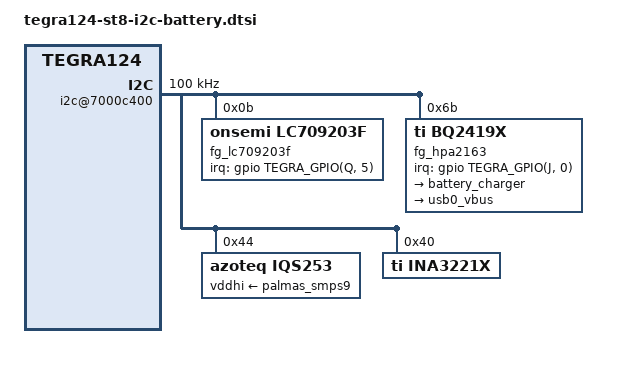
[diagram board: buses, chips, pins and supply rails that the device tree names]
#include <dt-bindings/gpio/tegra-gpio.h>

/ {
    i2c@7000c400 {
        #address-cells = <0x1>;
        #size-cells = <0x0>;
        compatible = "nvidia,tegra124-i2c";
        reg = <0x0 0x7000c400 0x0 0x100>;
        interrupts = <0x0 0x54 0x4>;
        scl-gpio = <0x7 0x9d 0x0>;
        sda-gpio = <0x7 0x9e 0x0>;
        nvidia,memory-clients = <0xe>;
        status = "okay";
        clock-frequency = <0x186a0>;
        
        fg_max17048: battery-gauge@36 {
            compatible = "maxim,max17048";
            reg = <0x36>;
            status = "disabled";
            interrupt-parent = <&gpio>;
            interrupts = <TEGRA_GPIO(Q, 5) 0x0>;
            tz-name = "battery-temp";
            alert-threshold = <0x0>;
            one-percent-alerts = <0x1>;
            valert-max = <0x13ec>;
            valert-min = <0x0>;
            vreset-threshold = <0x960>;
            vreset-disable = <0x1>;
            hib-threshold = <0x30>;
            hib-active-threshold = <0x80>;
            bits = <0x12>;
            rcomp = <0x39>;
            rcomp-seg = <0x200>;
            soccheck-a = <0x77>;
            soccheck-b = <0x79>;
            ocvtest = <0xda90>;
            data-tbl = <0x98 0x80 0xb3 0x50 0xb7 0x90 0xb9 0x0 0xba 0x70 0xbc 0x10 0xbc 0x50 0xbc 0xa0 0xbd 0x20 0xbe 0x30 0xbf 0x40 0xc2 0xf0 0xc4 0x20 0xc7 0xe0 0xcb 0xf0 0xd0 0x90 0x0 0x40 0x6 0x70 0xe 0x50 0x12 0x0 0x18 0xd0 0x33 0x10 0x31 0x40 0x35 0xd0 0x18 0xd0 0x19 0x0 0xb 0xf0 0xc 0x10 0xd 0x10 0x7 0x90 0x8 0x0 0x8 0x0>;
        };
        
        fg_lc709203f: battery-gauge@0b {
            compatible = "onsemi,lc709203f";
            reg = <0xb>;
            interrupt-parent = <&gpio>;
            interrupts = <TEGRA_GPIO(Q, 5) 0x0>;
            onsemi,thermistor-beta = <0xd6b>;
            onsemi,kernel-maximum-soc = <0x63>;
            onsemi,alert-low-rsoc = <0x0>;
            onsemi,alert-low-voltage = <0x0>;
            status = "okay";
            onsemi,kernel-threshold-soc = <0x2>;
            io-channels = <0xa 0x1>;
            io-channel-names = "battery-current";
        };
        
        fg_hpa2163: battery-charger@6b {
            compatible = "ti,bq2419x";
            reg = <0x6b>;
            interrupt-parent = <&gpio>;
            interrupts = <TEGRA_GPIO(J, 0) 0x0>;
            
            battery_charger: charger {
                status = "okay";
                regulator-name = "batt_regulator";
                regulator-max-microamp = <0x2dc6c0>;
                ti,watchdog-timeout = <0x28>;
                ti,rtc-alarm-time = <0xe10>;
                ti,auto-recharge-time = <0x708>;
                ti,disbale-suspend-during-charging;
                ti,charge-voltage-limit-millivolt = <0x1100>;
                ti,charge-term-current-limit-milliamp = <0x1>;
                ti,temp-range = <0xa 0xf 0x19 0x2d 0x32 0x3c>;
                ti,charge-current-limit = <0x208 0x410 0xa28 0xa28 0xa28 0x208>;
                ti,thermal-zone = "battery";
                ti,temp-polling-time-sec = <0x5>;
                ti,ir-comp-voltage-millivolt = <0x1>;
                ti,ir-comp-resister-ohm = <0x46>;
                ti,auto-recharge-time-power-off = <0xe10>;
                ti,auto-recharge-time-suspend = <0xe10>;
                ti,charge-thermal-voltage-limit = <0x1100 0x1100 0x1100 0x1100 0x1068 0x1068>;
                ti,soc-range = <0x32 0x3c 0x46 0x50 0x55 0x5a 0x5f 0x65>;
                ti,input-voltage-soc-limit = <0x1068 0x10b8 0x1108 0x1158 0x11a8 0x11f8 0x1248 0x1298>;
                
                consumers {
                    
                    c1 {
                        regulator-consumer-supply = "usb_bat_chg";
                        regulator-consumer-device = "tegra-udc.0";
                    };
                    
                    c2 {
                        regulator-consumer-supply = "usb_bat_chg";
                        regulator-consumer-device = "tegra-otg";
                    };
                };
            };
            
            usb0_vbus: vbus {
                regulator-name = "vbus_regulator";
                ti,otg-iusb-gpio = <0x7 &gpio TEGRA_GPIO(I, 4) 0x0>;
                
                consumers {
                    
                    c1 {
                        regulator-consumer-supply = "usb_vbus";
                        regulator-consumer-device = "tegra-ehci.0";
                    };
                    
                    c2 {
                        regulator-consumer-supply = "usb_vbus";
                        regulator-consumer-device = "tegra-otg";
                    };
                };
            };
        };
        
        iqs253@44 {
            compatible = "azoteq,iqs253";
            reg = <0x44>;
            vddhi-supply = <&palmas_smps9>;
            vendor = "Azoteq";
            proximity,max-range = [32 00];
            proximity,integration-time = "16000000";
            proximity,power-consumed = "1.67";
            rdy-gpio = <0x7 0x55 0x1>;
            wake-gpio = <0x7 0xb3 0x1>;
            sar-gpio = <0x7 0x42 0x1>;
        };
        
        ina3221x@40 {
            compatible = "ti,ina3221x";
            reg = <0x40>;
            ti,trigger-config = <0x7203>;
            ti,continuous-config = <0x7c07>;
            #address-cells = <0x1>;
            #size-cells = <0x0>;
            #io-channel-cells = <0x1>;
            linux,phandle = <0xa>;
            phandle = <0xa>;
            
            channel@0 {
                reg = <0x0>;
                ti,rail-name = "VDD_BAT";
                ti,current-warning-limit-ma = <0x1f40>;
                ti,current-critical-limit-ma = <0x2328>;
                ti,shunt-resistor-mohm = <0x1>;
            };
            
            channel@1 {
                reg = <0x1>;
                ti,rail-name = "VDD_USB_5V0";
                ti,shunt-resistor-mohm = <0xa>;
            };
            
            channel@2 {
                reg = <0x2>;
                ti,rail-name = "VDD_SYS_MDM";
                ti,shunt-resistor-mohm = <0x1>;
            };
        };
    };
};
